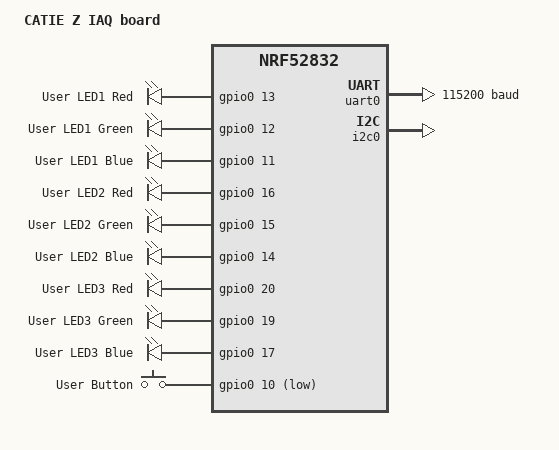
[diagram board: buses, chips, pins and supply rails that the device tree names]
/*
 * Copyright (c) 2023 CATIE
 *
 * SPDX-License-Identifier: Apache-2.0
 */

/dts-v1/;
#include <nordic/nrf52832_qfaa.dtsi>
#include "z_iaq-pinctrl.dtsi"

/ {
	model = "CATIE Z IAQ board";
	compatible = "catie,z-iaq";

	chosen {
		zephyr,console = &uart0;
		zephyr,shell-uart = &uart0;
		zephyr,bt-mon-uart = &uart0;
		zephyr,bt-c2h-uart = &uart0;
		zephyr,sram = &sram0;
		zephyr,flash = &flash0;
	};

	leds {
		compatible = "gpio-leds";
		led1_r: led_0 {
			gpios = <&gpio0 13 GPIO_ACTIVE_HIGH>;
			label = "User LED1 Red";
		};
		led1_g: led_1 {
			gpios = <&gpio0 12 GPIO_ACTIVE_HIGH>;
			label = "User LED1 Green";
		};
		led1_b: led_1 {
			gpios = <&gpio0 11 GPIO_ACTIVE_HIGH>;
			label = "User LED1 Blue";
		};
		led2_r: led_0 {
			gpios = <&gpio0 16 GPIO_ACTIVE_HIGH>;
			label = "User LED2 Red";
		};
		led2_g: led_1 {
			gpios = <&gpio0 15 GPIO_ACTIVE_HIGH>;
			label = "User LED2 Green";
		};
		led2_b: led_1 {
			gpios = <&gpio0 14 GPIO_ACTIVE_HIGH>;
			label = "User LED2 Blue";
		};
		led3_r: led_0 {
			gpios = <&gpio0 20 GPIO_ACTIVE_HIGH>;
			label = "User LED3 Red";
		};
		led3_g: led_1 {
			gpios = <&gpio0 19 GPIO_ACTIVE_HIGH>;
			label = "User LED3 Green";
		};
		led3_b: led_1 {
			gpios = <&gpio0 17 GPIO_ACTIVE_HIGH>;
			label = "User LED3 Blue";
		};
	};

	gpio_keys {
		compatible = "gpio-keys";
		user_button: button {
			label = "User Button";
			gpios = <&gpio0 10 GPIO_ACTIVE_LOW>;
		};
	};

	aliases {
		led0 = &led_0;
		led1_r = &led1_r;
		led1_g = &led1_g;
		led1_b = &led1_b;
		led2_r = &led2_r;
		led2_g = &led2_g;
		led2_b = &led2_b;
		led3_r = &led3_r;
		led3_g = &led3_g;
		led3_b = &led3_b;
		sw0 = &user_button;
	};
};

&gpio0 {
	status = "okay";
};

&uart0 {
	status = "okay";
	compatible = "nordic,nrf-uarte";
	current-speed = <115200>;
	pinctrl-0 = <&uart0_default>;
	pinctrl-1 = <&uart0_sleep>;
	pinctrl-names = "default", "sleep";
};

&i2c0 {
	compatible = "nordic,nrf-twi";
	status = "okay";
	pinctrl-0 = <&i2c0_default>;
	pinctrl-1 = <&i2c0_sleep>;
	pinctrl-names = "default", "sleep";
};
